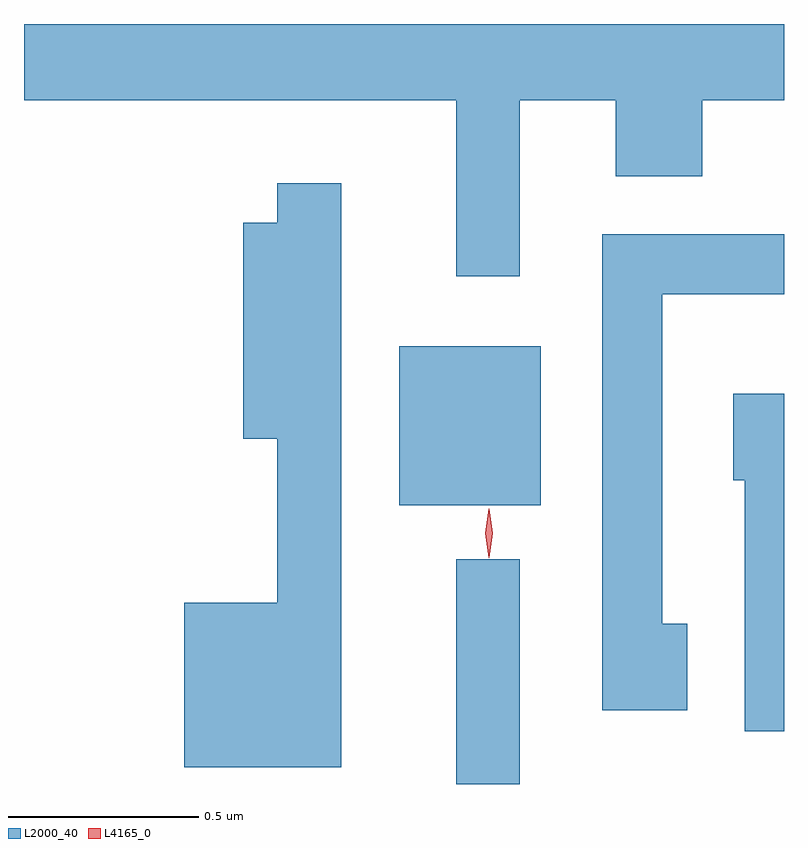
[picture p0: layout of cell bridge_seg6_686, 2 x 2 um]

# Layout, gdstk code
import gdstk
lib = gdstk.Library(unit=1e-6, precision=1e-09)
def R(c, l, rs):  # rectangles x0, y0, x1, y1
    for r in rs: c.add(gdstk.rectangle(r[:2], r[2:], *l))
def P(c, l, *ps):  # polygons
    for p in ps: c.add(gdstk.Polygon(p, *l))
L2000_40 = (2000, 40)
L4165_0 = (4165, 0)

bridge_seg6_686 = lib.new_cell('bridge_seg6_686')
R(bridge_seg6_686, L2000_40, [(360.311,1634.817,360.479,1635.408), (360.161,1635.551,360.534,1635.969)])
P(bridge_seg6_686, L2000_40, [(360.479,1636.616),(360.731,1636.616),(360.731,1636.416),(360.959,1636.416),(360.959,1636.616),(361.174,1636.616),(361.174,1636.817),(359.174,1636.817),(359.174,1636.616),(360.311,1636.616),(360.311,1636.153),(360.479,1636.153)],
  [(360.009,1636.398),(359.841,1636.398),(359.841,1636.294),(359.751,1636.294),(359.751,1635.726),(359.841,1635.726),(359.841,1635.294),(359.596,1635.294),(359.596,1634.861),(360.009,1634.861)],
  [(360.919,1635.239),(360.854,1635.239),(360.854,1636.106),(361.174,1636.106),(361.174,1636.264),(360.696,1636.264),(360.696,1635.011),(360.919,1635.011)],
  [(361.174,1635.844),(361.041,1635.844),(361.041,1635.616),(361.071,1635.616),(361.071,1634.956),(361.174,1634.956)])
P(bridge_seg6_686, L4165_0, [(360.398,1635.412),(360.397,1635.413),(360.388,1635.477),(360.397,1635.541),(360.398,1635.542),(360.398,1635.541),(360.408,1635.477),(360.398,1635.413)])

lib.write_gds('bridge_seg6_686.gds')
